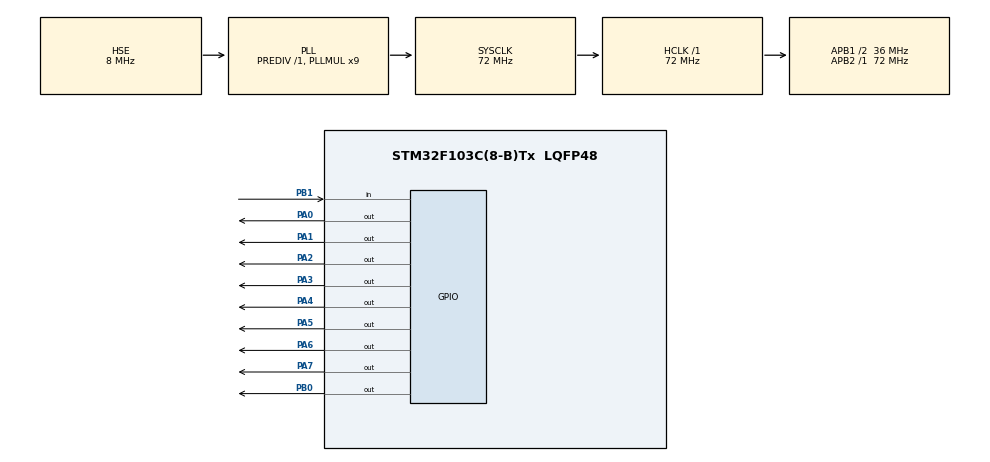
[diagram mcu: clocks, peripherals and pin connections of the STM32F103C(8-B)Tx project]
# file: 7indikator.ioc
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Mcu.Family=STM32F1
Mcu.Name=STM32F103C(8-B)Tx
Mcu.Package=LQFP48
NVIC.PriorityGroup=NVIC_PRIORITYGROUP_4
PA0-WKUP.Signal=GPIO_Output
PA1.Signal=GPIO_Output
PA13.Mode=Serial_Wire
PA13.Signal=SYS_JTMS-SWDIO
PA14.Mode=Serial_Wire
PA14.Signal=SYS_JTCK-SWCLK
PA2.Signal=GPIO_Output
PA3.Signal=GPIO_Output
PA4.Signal=GPIO_Output
PA5.Signal=GPIO_Output
PA6.Signal=GPIO_Output
PA7.Signal=GPIO_Output
PB0.Signal=GPIO_Output
PB1.Signal=GPIO_Input
PD0-OSC_IN.Mode=HSE-External-Oscillator
PD0-OSC_IN.Signal=RCC_OSC_IN
PD1-OSC_OUT.Mode=HSE-External-Oscillator
PD1-OSC_OUT.Signal=RCC_OSC_OUT
ProjectManager.HeapSize=0x200
ProjectManager.StackSize=0x400
ProjectManager.TargetToolchain=MDK-ARM V5.32
RCC.AHBFreq_Value=72000000
RCC.APB1CLKDivider=RCC_HCLK_DIV2
RCC.APB1Freq_Value=36000000
RCC.APB1TimFreq_Value=72000000
RCC.APB2Freq_Value=72000000
RCC.APB2TimFreq_Value=72000000
RCC.HCLKFreq_Value=72000000
RCC.PLLMUL=RCC_PLL_MUL9
RCC.PLLSourceVirtual=RCC_PLLSOURCE_HSE
RCC.SYSCLKFreq_VALUE=72000000
RCC.SYSCLKSource=RCC_SYSCLKSOURCE_PLLCLK
RCC.USBFreq_Value=72000000
board=custom

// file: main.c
/* USER CODE BEGIN Header */
/**
  ******************************************************************************
  * @file           : main.c
  * @brief          : Main program body
  ******************************************************************************
  * @attention
  *
  * Copyright (c) 2025 STMicroelectronics.
  * All rights reserved.
  *
  * This software is licensed under terms that can be found in the LICENSE file
  * in the root directory of this software component.
  * If no LICENSE file comes with this software, it is provided AS-IS.
  *
  ******************************************************************************
  */
/* USER CODE END Header */
#include "main.h"

void SystemClock_Config(void);
static void MX_GPIO_Init(void);

int main(void)
{

  /* MCU Configuration--------------------------------------------------------*/

  /* Reset of all peripherals, Initializes the Flash interface and the Systick. */
  HAL_Init();

  /* Configure the system clock */
  SystemClock_Config();

  /* Initialize all configured peripherals */
  MX_GPIO_Init();

  /* Infinite loop */
  /* USER CODE BEGIN WHILE */
  while (1)
  {
		HAL_GPIO_WritePin(GPIOA, GPIO_PIN_0, GPIO_PIN_SET);
		HAL_Delay(200);
		HAL_GPIO_WritePin(GPIOA, GPIO_PIN_0, GPIO_PIN_RESET);

		HAL_GPIO_WritePin(GPIOA, GPIO_PIN_1, GPIO_PIN_SET);
		HAL_Delay(200);
		HAL_GPIO_WritePin(GPIOA, GPIO_PIN_1, GPIO_PIN_RESET);

		HAL_GPIO_WritePin(GPIOA, GPIO_PIN_2, GPIO_PIN_SET);
		HAL_Delay(200);
		HAL_GPIO_WritePin(GPIOA, GPIO_PIN_3, GPIO_PIN_RESET);

		HAL_GPIO_WritePin(GPIOA, GPIO_PIN_4, GPIO_PIN_SET);
		HAL_Delay(200);
		HAL_GPIO_WritePin(GPIOA, GPIO_PIN_4, GPIO_PIN_RESET);

		HAL_GPIO_WritePin(GPIOA, GPIO_PIN_5, GPIO_PIN_SET);
		HAL_Delay(200);
		HAL_GPIO_WritePin(GPIOA, GPIO_PIN_5, GPIO_PIN_RESET);

		HAL_GPIO_WritePin(GPIOA, GPIO_PIN_6, GPIO_PIN_SET);
		HAL_Delay(200);
		HAL_GPIO_WritePin(GPIOA, GPIO_PIN_6, GPIO_PIN_RESET);

		HAL_GPIO_WritePin(GPIOA, GPIO_PIN_7, GPIO_PIN_SET);
		HAL_Delay(200);
		HAL_GPIO_WritePin(GPIOA, GPIO_PIN_7, GPIO_PIN_RESET);

		HAL_GPIO_WritePin(GPIOB, GPIO_PIN_0, GPIO_PIN_SET);
		HAL_Delay(200);
		HAL_GPIO_WritePin(GPIOB, GPIO_PIN_0, GPIO_PIN_RESET);

    /* USER CODE END WHILE */

  }
}

void SystemClock_Config(void)
{
  RCC_OscInitTypeDef RCC_OscInitStruct = {0};
  RCC_ClkInitTypeDef RCC_ClkInitStruct = {0};

  /** Initializes the RCC Oscillators according to the specified parameters
  * in the RCC_OscInitTypeDef structure.
  */
  RCC_OscInitStruct.OscillatorType = RCC_OSCILLATORTYPE_HSE;
  RCC_OscInitStruct.HSEState = RCC_HSE_ON;
  RCC_OscInitStruct.HSEPredivValue = RCC_HSE_PREDIV_DIV1;
  RCC_OscInitStruct.HSIState = RCC_HSI_ON;
  RCC_OscInitStruct.PLL.PLLState = RCC_PLL_ON;
  RCC_OscInitStruct.PLL.PLLSource = RCC_PLLSOURCE_HSE;
  RCC_OscInitStruct.PLL.PLLMUL = RCC_PLL_MUL9;
  if (HAL_RCC_OscConfig(&RCC_OscInitStruct) != HAL_OK)
  {
    Error_Handler();
  }

  /** Initializes the CPU, AHB and APB buses clocks
  */
  RCC_ClkInitStruct.ClockType = RCC_CLOCKTYPE_HCLK|RCC_CLOCKTYPE_SYSCLK
                              |RCC_CLOCKTYPE_PCLK1|RCC_CLOCKTYPE_PCLK2;
  RCC_ClkInitStruct.SYSCLKSource = RCC_SYSCLKSOURCE_PLLCLK;
  RCC_ClkInitStruct.AHBCLKDivider = RCC_SYSCLK_DIV1;
  RCC_ClkInitStruct.APB1CLKDivider = RCC_HCLK_DIV2;
  RCC_ClkInitStruct.APB2CLKDivider = RCC_HCLK_DIV1;

  if (HAL_RCC_ClockConfig(&RCC_ClkInitStruct, FLASH_LATENCY_2) != HAL_OK)
  {
    Error_Handler();
  }
}

static void MX_GPIO_Init(void)
{
  GPIO_InitTypeDef GPIO_InitStruct = {0};

  /* GPIO Ports Clock Enable */
  __HAL_RCC_GPIOD_CLK_ENABLE();
  __HAL_RCC_GPIOA_CLK_ENABLE();
  __HAL_RCC_GPIOB_CLK_ENABLE();

  /*Configure GPIO pin Output Level */
  HAL_GPIO_WritePin(GPIOA, GPIO_PIN_0|GPIO_PIN_1|GPIO_PIN_2|GPIO_PIN_3
                          |GPIO_PIN_4|GPIO_PIN_5|GPIO_PIN_6|GPIO_PIN_7, GPIO_PIN_RESET);

  /*Configure GPIO pin Output Level */
  HAL_GPIO_WritePin(GPIOB, GPIO_PIN_0, GPIO_PIN_RESET);

  /*Configure GPIO pins : PA0 PA1 PA2 PA3
                           PA4 PA5 PA6 PA7 */
  GPIO_InitStruct.Pin = GPIO_PIN_0|GPIO_PIN_1|GPIO_PIN_2|GPIO_PIN_3
                          |GPIO_PIN_4|GPIO_PIN_5|GPIO_PIN_6|GPIO_PIN_7;
  GPIO_InitStruct.Mode = GPIO_MODE_OUTPUT_PP;
  GPIO_InitStruct.Pull = GPIO_NOPULL;
  GPIO_InitStruct.Speed = GPIO_SPEED_FREQ_LOW;
  HAL_GPIO_Init(GPIOA, &GPIO_InitStruct);

  /*Configure GPIO pin : PB0 */
  GPIO_InitStruct.Pin = GPIO_PIN_0;
  GPIO_InitStruct.Mode = GPIO_MODE_OUTPUT_PP;
  GPIO_InitStruct.Pull = GPIO_NOPULL;
  GPIO_InitStruct.Speed = GPIO_SPEED_FREQ_LOW;
  HAL_GPIO_Init(GPIOB, &GPIO_InitStruct);

  /*Configure GPIO pin : PB1 */
  GPIO_InitStruct.Pin = GPIO_PIN_1;
  GPIO_InitStruct.Mode = GPIO_MODE_INPUT;
  GPIO_InitStruct.Pull = GPIO_NOPULL;
  HAL_GPIO_Init(GPIOB, &GPIO_InitStruct);

}

void Error_Handler(void)
{
  __disable_irq();
  while (1)
  {
  }
}
